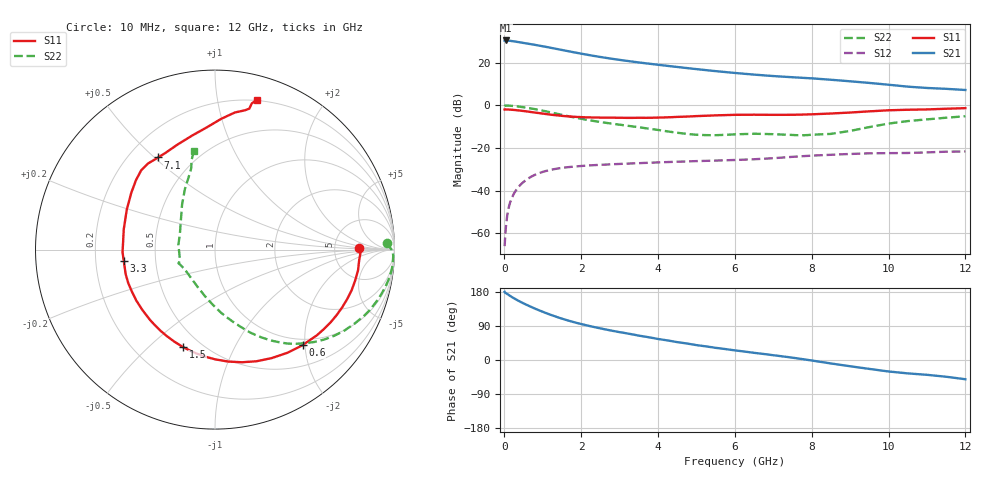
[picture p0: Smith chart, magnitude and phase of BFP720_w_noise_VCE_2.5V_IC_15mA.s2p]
! Infineon Technologies  Discrete & RF Semiconductors
! BFP720
! VCE =  2.5 V,  IC =  15 mA
! Common Emitter S-Parameters:  Aug 2012
# GHz  S  MA  R  50
!  f  S11  S21  S12  S22
! GHz  MAG  ANG  MAG  ANG  MAG  ANG  MAG  ANG
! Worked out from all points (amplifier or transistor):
!   105 points, 10 MHz to 12 GHz, reference 50 ohm
!   highest |S21| = 30.5 dB at 50 MHz (marker M1)
!   |S21| within 3 dB of that: start of sweep to 1.082 GHz
!   unconditionally stable (mu >= 1): 4.828 GHz to 11.08 GHz
!   at 300 MHz: K = 0.12, MSG = 35.0 dB, |S12| = -40.0 dB
!   at 3.6 GHz: K = 0.82, MSG = 23.5 dB, |S12| = -27.0 dB
!   at 12 GHz: K = 0.78, MSG = 14.4 dB, |S12| = -21.6 dB
!   lowest NFmin = 0.63 dB at 450 MHz
!   S11 on the Smith chart (normalised r, x): 10 MHz: 9.19, +0.58; 600 MHz: 0.88, -1.95; 1.5 GHz: 0.40, -0.65; 3.3 GHz: 0.32, -0.06; 7.1 GHz: 0.32, +0.51; 12 GHz: 0.19, +1.30
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0.01  0.8044 0.8  33.29 179.9  0.0005 90.6  0.9572 2.2
0.02  0.8101 -1.6  33.35 178.0  0.0007 92.1  0.9904 -0.5
0.05  0.8056 -4.0  33.56 176.1  0.0016 91.2  0.9936 -2.1
0.15  0.7997 -12.5  32.95 169.4  0.0052 84.2  0.9884 -7.5
0.3  0.7781 -24.5  31.46 160.2  0.01 77.2  0.9602 -14.8
0.45  0.7512 -36.1  29.89 152.0  0.0146 71.5  0.9238 -21.6
0.6  0.7223 -47.5  28.41 144.8  0.0188 66.1  0.8803 -27.9
0.8  0.6821 -62.4  26.48 135.6  0.0236 59.4  0.8203 -35.8
1  0.6455 -76.5  24.52 127.3  0.0276 53.5  0.7559 -42.9
1.2  0.6115 -89.9  22.68 119.6  0.0307 48.4  0.6923 -49.3
1.5  0.5716 -108.1  20.09 109.2  0.0343 42.0  0.6039 -57.5
1.8  0.5449 -123.7  17.81 100.2  0.0368 37.1  0.5294 -64.3
2.1  0.5289 -136.3  15.85 92.6  0.0386 33.5  0.4702 -69.9
2.6  0.5188 -153.2  13.3 81.4  0.0409 29.2  0.3971 -78.1
3.3  0.5121 -172.9  10.81 68.3  0.0436 25.3  0.3264 -88.7
4.1  0.5228 164.9  8.813 54.0  0.0465 22.1  0.2586 -104.0
5  0.5638 145.8  7.136 39.3  0.0495 19.1  0.2058 -131.3
6.1  0.6043 131.8  5.699 24.2  0.053 17.0  0.2115 -156.5
7.1  0.6032 121.7  4.841 11.4  0.0589 16.2  0.2103 -161.2
8.5  0.6478 101.4  4.015 -9.1  0.0697 8.9  0.2155 155.0
10.5  0.7945 77.8  2.767 -35.3  0.0769 -3.7  0.4305 109.9
12  0.8662 74.4  2.311 -50.8  0.0835 -12.4  0.5598 102.2
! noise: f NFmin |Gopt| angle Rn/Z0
0.45  0.63  0.22  1  0.43
1.8  0.7  0.22  14  0.13
2.4  0.75  0.2  22  0.38
5.5  0.93  0.1  -30  0.18
10  1.11  0.44  -74  0.27
